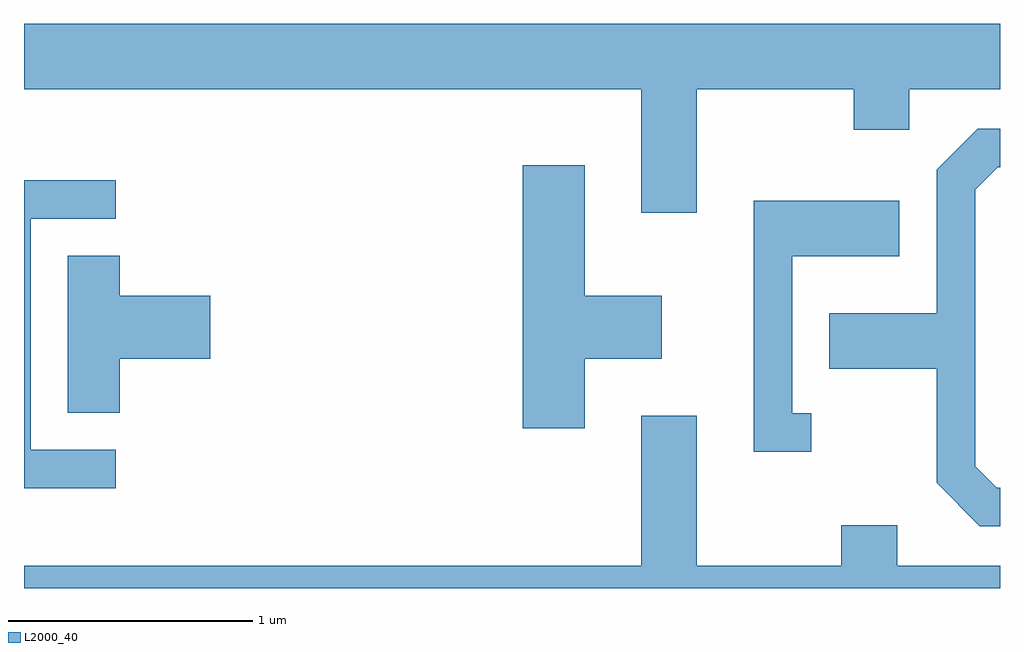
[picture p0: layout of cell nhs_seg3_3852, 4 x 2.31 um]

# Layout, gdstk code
import gdstk
lib = gdstk.Library(unit=1e-6, precision=1e-09)
def P(c, l, *ps):  # polygons
    for p in ps: c.add(gdstk.Polygon(p, *l))
L2000_40 = (2000, 40)

nhs_seg3_3852 = lib.new_cell('nhs_seg3_3852')
P(nhs_seg3_3852, L2000_40, [(300.369,1205.936),(301.011,1205.936),(301.011,1205.771),(301.239,1205.771),(301.239,1205.936),(301.611,1205.936),(301.611,1206.204),(297.611,1206.204),(297.611,1205.936),(300.141,1205.936),(300.141,1205.431),(300.369,1205.431)],
  [(301.611,1204.304),(301.597,1204.304),(301.509,1204.392),(301.509,1205.524),(301.602,1205.616),(301.611,1205.616),(301.611,1205.774),(301.519,1205.774),(301.351,1205.607),(301.351,1205.019),(300.911,1205.019),(300.911,1204.791),(301.351,1204.791),(301.351,1204.324),(301.529,1204.146),(301.611,1204.146)],
  [(299.909,1204.831),(300.224,1204.831),(300.224,1205.089),(299.909,1205.089),(299.909,1205.624),(299.656,1205.624),(299.656,1204.546),(299.909,1204.546)],
  [(297.988,1204.459),(297.639,1204.459),(297.639,1205.406),(297.988,1205.406),(297.988,1205.564),(297.611,1205.564),(297.611,1204.301),(297.988,1204.301)],
  [(300.838,1204.609),(300.759,1204.609),(300.759,1205.251),(301.199,1205.251),(301.199,1205.479),(300.601,1205.479),(300.601,1204.451),(300.838,1204.451)],
  [(298.004,1204.831),(298.374,1204.831),(298.374,1205.089),(298.004,1205.089),(298.004,1205.254),(297.791,1205.254),(297.791,1204.611),(298.004,1204.611)],
  [(301.611,1203.984),(301.189,1203.984),(301.189,1204.149),(300.961,1204.149),(300.961,1203.984),(300.369,1203.984),(300.369,1204.599),(300.141,1204.599),(300.141,1203.984),(297.611,1203.984),(297.611,1203.892),(301.611,1203.892)])

lib.write_gds('nhs_seg3_3852.gds')
